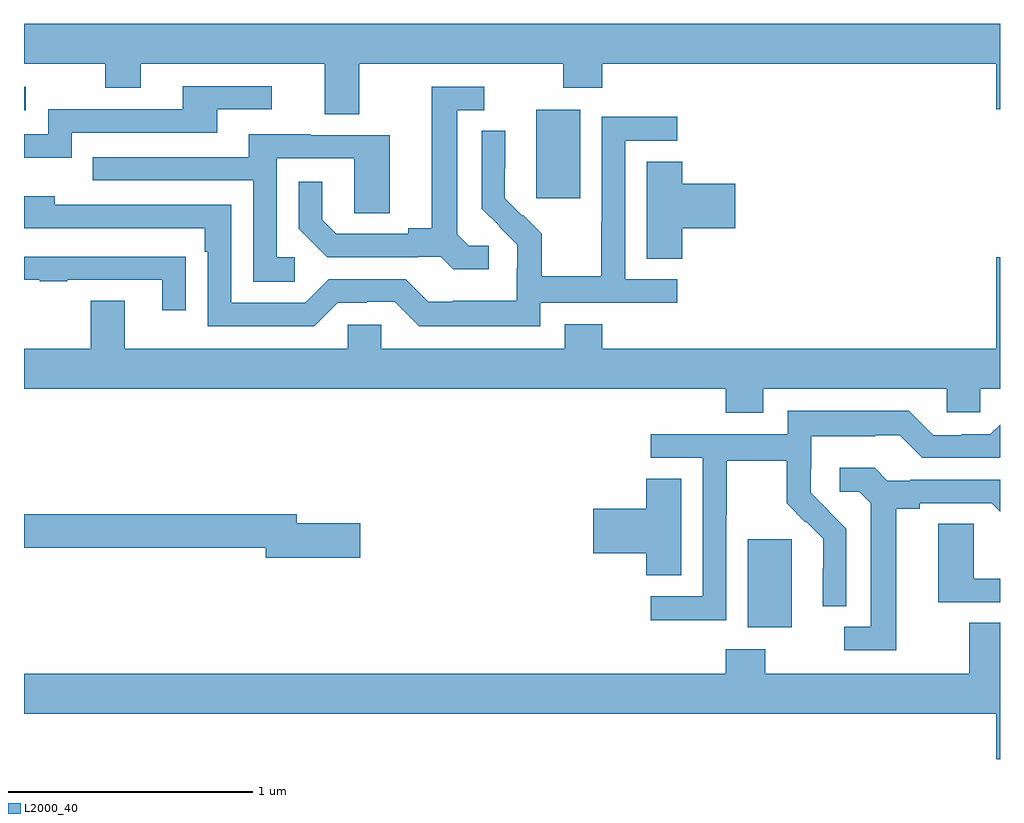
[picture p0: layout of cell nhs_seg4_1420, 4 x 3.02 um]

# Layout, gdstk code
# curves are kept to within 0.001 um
import gdstk
lib = gdstk.Library(unit=1e-6, precision=1e-09)
def R(c, l, rs):  # rectangles x0, y0, x1, y1
    for r in rs: c.add(gdstk.rectangle(r[:2], r[2:], *l))
def P(c, l, *ps):  # polygons
    for p in ps: c.add(gdstk.Polygon(p, *l))
L2000_40 = (2000, 40)

nhs_seg4_1420 = lib.new_cell('nhs_seg4_1420')
R(nhs_seg4_1420, L2000_40, [(187.967,755.882,188.146,756.243), (187.1,757.641,187.279,758.002), (185,758.001,185.008,758.097)])
P(nhs_seg4_1420, L2000_40, [(186.373,758.192),(187.21,758.192),(187.21,758.093),(187.37,758.093),(187.37,758.192),(188.984,758.192),(188.984,758.004),(189,758.004),(189,758.356),(185,758.356),(185,758.192),(185.332,758.192),(185.332,758.093),(185.479,758.093),(185.479,758.192),(186.233,758.192),(186.233,757.984),(186.373,757.984)],
  [(185.196,757.908),(185.791,757.908),(185.791,758.004),(186.016,758.004),(186.016,758.1),(185.651,758.1),(185.651,758.004),(185.1,758.004),(185.1,757.902),(185,757.902),(185,757.805),(185.196,757.805)],
  [(186.904,757.446),(186.822,757.446),(186.775,757.493),(186.775,758.001),(186.886,758.001),(186.886,758.097),(186.671,758.097),(186.671,757.517),(186.575,757.517),(186.575,757.494),(186.28,757.494),(186.223,757.551),(186.223,757.708),(186.126,757.708),(186.126,757.514),(186.242,757.398),(186.614,757.398),(186.614,757.401),(186.708,757.401),(186.76,757.349),(186.904,757.349)],
  [(187.116,757.212),(187.678,757.212),(187.678,757.308),(187.464,757.308),(187.464,757.875),(187.678,757.875),(187.678,757.974),(187.368,757.974),(187.368,757.544),(187.366,757.544),(187.366,757.321),(187.121,757.321),(187.121,757.495),(187.044,757.572),(187.041,757.569),(186.971,757.64),(186.972,757.916),(186.876,757.916),(186.876,757.598),(187.022,757.45),(187.022,757.353),(187.02,757.353),(187.02,757.219),(186.757,757.219),(186.757,757.215),(186.657,757.215),(186.564,757.308),(186.249,757.308),(186.153,757.212),(185.85,757.212),(185.85,757.614),(185.126,757.614),(185.126,757.648),(185,757.648),(185,757.518),(185.741,757.518),(185.741,757.421),(185.754,757.421),(185.754,757.116),(186.189,757.116),(186.285,757.212),(186.404,757.212),(186.404,757.215),(186.519,757.215),(186.619,757.115),(187.116,757.115)],
  [(186.109,757.398),(186.036,757.398),(186.036,757.803),(186.354,757.803),(186.354,757.579),(186.499,757.579),(186.499,757.899),(186.175,757.899),(186.175,757.903),(185.921,757.903),(185.921,757.809),(185.281,757.809),(185.281,757.713),(185.94,757.713),(185.94,757.297),(186.109,757.297)],
  [(187.697,757.517),(187.915,757.517),(187.915,757.7),(187.697,757.7),(187.697,757.79),(187.553,757.79),(187.553,757.393),(187.697,757.393)],
  [(185.663,757.4),(185.561,757.4),(185.561,757.401),(185,757.401),(185,757.305),(185.065,757.305),(185.065,757.3),(185.177,757.3),(185.177,757.305),(185.567,757.305),(185.567,757.182),(185.663,757.182)],
  [(188.029,756.86),(188.781,756.86),(188.781,756.762),(188.919,756.762),(188.919,756.86),(189,756.86),(189,757.399),(188.984,757.399),(188.984,757.024),(187.37,757.024),(187.37,757.123),(187.217,757.123),(187.217,757.024),(186.465,757.024),(186.465,757.122),(186.327,757.122),(186.327,757.024),(185.413,757.024),(185.413,757.219),(185.273,757.219),(185.273,757.024),(185,757.024),(185,756.86),(187.877,756.86),(187.877,756.761),(188.029,756.761)],
  [(187.878,756.34),(187.881,756.34),(187.881,756.564),(188.125,756.564),(188.125,756.389),(188.202,756.312),(188.205,756.315),(188.276,756.245),(188.276,756.122),(188.274,756.122),(188.274,755.968),(188.37,755.968),(188.37,756.286),(188.224,756.434),(188.224,756.531),(188.226,756.531),(188.226,756.665),(188.489,756.665),(188.489,756.669),(188.589,756.669),(188.682,756.576),(188.997,756.576),(189,756.579),(189,756.711),(188.961,756.672),(188.843,756.672),(188.843,756.669),(188.727,756.669),(188.627,756.769),(188.13,756.769),(188.13,756.672),(187.569,756.672),(187.569,756.576),(187.782,756.576),(187.782,756.009),(187.569,756.009),(187.569,755.911),(187.878,755.911)],
  [(188.575,756.368),(188.671,756.368),(188.671,756.39),(188.966,756.39),(189,756.356),(189,756.486),(188.632,756.486),(188.632,756.483),(188.538,756.483),(188.486,756.535),(188.343,756.535),(188.343,756.438),(188.424,756.438),(188.471,756.391),(188.471,755.883),(188.361,755.883),(188.361,755.787),(188.575,755.787)],
  [(187.693,756.491),(187.55,756.491),(187.55,756.368),(187.332,756.368),(187.332,756.185),(187.55,756.185),(187.55,756.094),(187.693,756.094)],
  [(186.379,756.308),(186.118,756.308),(186.118,756.344),(185,756.344),(185,756.208),(185.99,756.208),(185.99,756.166),(186.379,756.166)],
  [(189,756.081),(188.892,756.081),(188.892,756.305),(188.747,756.305),(188.747,755.985),(189,755.985)],
  [(189,755.9),(188.873,755.9),(188.873,755.692),(188.037,755.692),(188.037,755.791),(187.877,755.791),(187.877,755.692),(185,755.692),(185,755.528),(188.984,755.528),(188.984,755.34),(189,755.34)])

lib.write_gds('nhs_seg4_1420.gds')
